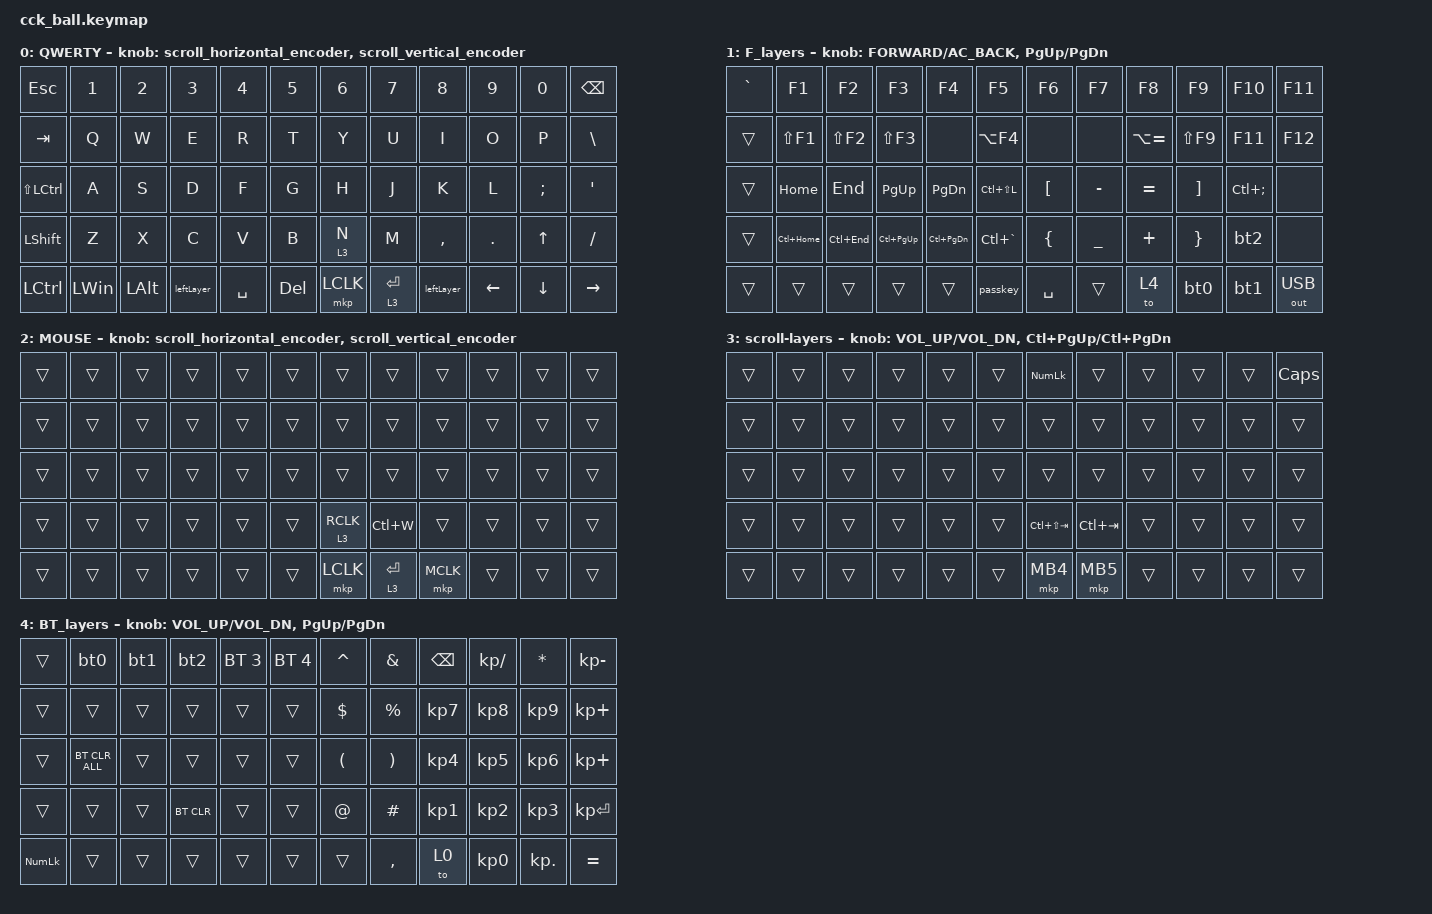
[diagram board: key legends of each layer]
#define ZMK_POINTING_DEFAULT_MOVE_VAL 1000 // 600
#define ZMK_POINTING_DEFAULT_SCRL_VAL 12   // 10

#include <input/processors.dtsi>
#include <zephyr/dt-bindings/input/input-event-codes.h>
#include <behaviors.dtsi>
#include <dt-bindings/zmk/bt.h>
#include <dt-bindings/zmk/keys.h>
#include <dt-bindings/zmk/outputs.h>
#include <dt-bindings/zmk/pointing.h>

&mmv_input_listener { input-processors = <&zip_xy_scaler 2 1>; };

&msc_input_listener { input-processors = <&zip_scroll_scaler 2 1>; };

&msc {
    acceleration-exponent = <0>;      // 0
    time-to-max-speed-ms = <300>;       // 300
    delay-ms = <0>;                   // 0
};

&mmv {
    time-to-max-speed-ms = <500>;
    acceleration-exponent = <1>;
    trigger-period-ms = <16>;
};

&soft_off { hold-time-ms = <2000>; };

/ {
    // 上下滚动编码器行为

    scroll_vertical_encoder: scroll_vertical_encoder {
        compatible = "zmk,behavior-sensor-rotate";
        #sensor-binding-cells = <0>;
        bindings = <&msc SCRL_UP>, <&msc SCRL_DOWN >;

        tap-ms = <100>;
    };

    // 左右滚动编码器行为

    scroll_horizontal_encoder: scroll_horizontal_encoder {
        compatible = "zmk,behavior-sensor-rotate";
        #sensor-binding-cells = <0>;
        bindings = <&msc SCRL_LEFT>, <&msc SCRL_RIGHT>;

        tap-ms = <100>;
    };

    leftLayer: leftLayer {
        compatible = "zmk,behavior-tap-dance";
        label = "LEFTLAYER";
        #binding-cells = <0>;
        bindings = <&mo 1>, <&mo 4>, <&togleComputer>;

        tapping-term-ms = <400>;
    };

    lt_mkp: lt_mkp {
        compatible = "zmk,behavior-hold-tap";
        label = "LT_MKP";
        bindings = <&mo>, <&mkp>;

        #binding-cells = <2>;
        tapping-term-ms = <200>;
        quick-tap-ms = <0>;
        flavor = "tap-preferred";
    };

    behaviors {
    };

    macros {
        togleComputer: togleComputer {
            compatible = "zmk,behavior-macro";
            #binding-cells = <0>;
            bindings =
                <&kp LS(LA(LC(BACKSLASH)))>,
                <&macro_wait_time 300>,
                <&out OUT_TOG>;

            label = "TOGLECOMPUTER";
        };

        passkey: passkey {
            compatible = "zmk,behavior-macro";
            #binding-cells = <0>;
            bindings =
                <&kp G &kp Z &kp S &kp D &kp C &kp X &kp DOT &kp N1 &kp N2 &kp N1>,
                <&macro_wait_time 200>,
                <&kp ENTER>;

            label = "PASSKEY";
        };

        bt0: bt0 {
            compatible = "zmk,behavior-macro";
            #binding-cells = <0>;
            bindings = <&kp LS(LA(LC(BACKSLASH))) &out OUT_BLE &bt BT_SEL 0>;
            label = "BT0";
        };

        bt1: bt1 {
            compatible = "zmk,behavior-macro";
            #binding-cells = <0>;
            bindings = <&kp LS(LA(LC(BACKSLASH))) &out OUT_BLE &bt BT_SEL 1>;
            label = "BT1";
        };

        bt2: bt2 {
            compatible = "zmk,behavior-macro";
            #binding-cells = <0>;
            bindings = <&kp LS(LA(LC(BACKSLASH))) &out OUT_BLE &bt BT_SEL 2>;
            label = "BT2";
        };
    };

    keymap {
        compatible = "zmk,keymap";

        QWERTY {
            bindings = <
&kp ESC           &kp N1        &kp N2        &kp N3      &kp N4     &kp N5      &kp N6     &kp N7       &kp N8      &kp N9          &kp N0          &kp BACKSPACE
&kp TAB           &kp Q         &kp W         &kp E       &kp R      &kp T       &kp Y      &kp U        &kp I       &kp O           &kp P           &kp BSLH
&kp LS(LCTRL)     &kp A         &kp S         &kp D       &kp F      &kp G       &kp H      &kp J        &kp K       &kp L           &kp SEMI        &kp SQT
&kp LEFT_SHIFT    &kp Z         &kp X         &kp C       &kp V      &kp B       &lt 3 N    &kp M        &kp COMMA   &kp DOT         &kp UP_ARROW    &kp FSLH
&kp LEFT_CONTROL  &kp LEFT_WIN  &kp LEFT_ALT  &leftLayer  &kp SPACE  &kp DELETE  &mkp LCLK  &lt 3 ENTER  &leftLayer  &kp LEFT_ARROW  &kp DOWN_ARROW  &kp RIGHT_ARROW
            >;

            sensor-bindings =
                <&scroll_horizontal_encoder>,
                <&scroll_vertical_encoder>;
        };

        F_layers {
            bindings = <
&kp GRAVE  &kp F1        &kp F2       &kp F3           &kp F4             &kp F5         &kp F6            &kp F7          &kp F8         &kp F9             &kp F10            &kp F11
&trans     &kp LS(F1)    &kp LS(F2)   &kp LS(F3)       &none              &kp LA(F4)     &none             &none           &kp LA(EQUAL)  &kp LS(F9)         &kp F11            &kp F12
&trans     &kp HOME      &kp END      &kp PAGE_UP      &kp PAGE_DOWN      &kp LC(LS(L))  &kp LEFT_BRACKET  &kp MINUS       &kp EQUAL      &kp RIGHT_BRACKET  &kp LC(SEMICOLON)  &none
&trans     &kp LC(HOME)  &kp LC(END)  &kp LC(PAGE_UP)  &kp LC(PAGE_DOWN)  &kp LC(GRAVE)  &kp LEFT_BRACE    &kp UNDERSCORE  &kp PLUS       &kp RIGHT_BRACE    &bt2               &none
&trans     &trans        &trans       &trans           &trans             &passkey       &kp SPACE         &trans          &to 4          &bt0               &bt1               &out OUT_USB
            >;

            sensor-bindings =
                <&inc_dec_kp K_FORWARD C_AC_BACK>,
                <&inc_dec_kp PG_UP PG_DN>;
        };

        MOUSE {
            bindings = <
&trans  &trans  &trans  &trans  &trans  &trans  &trans          &trans       &trans     &trans  &trans  &trans
&trans  &trans  &trans  &trans  &trans  &trans  &trans          &trans       &trans     &trans  &trans  &trans
&trans  &trans  &trans  &trans  &trans  &trans  &trans          &trans       &trans     &trans  &trans  &trans
&trans  &trans  &trans  &trans  &trans  &trans  &lt_mkp 3 RCLK  &kp LC(W)    &trans     &trans  &trans  &trans
&trans  &trans  &trans  &trans  &trans  &trans  &mkp LCLK       &lt 3 ENTER  &mkp MCLK  &trans  &trans  &trans
            >;

            sensor-bindings =
                <&scroll_horizontal_encoder>,
                <&scroll_vertical_encoder>;
        };

        scroll-layers {
            bindings = <
&trans  &trans  &trans  &trans  &trans  &trans  &kp KP_NUMLOCK   &trans       &trans  &trans  &trans  &kp CAPSLOCK
&trans  &trans  &trans  &trans  &trans  &trans  &trans           &trans       &trans  &trans  &trans  &trans
&trans  &trans  &trans  &trans  &trans  &trans  &trans           &trans       &trans  &trans  &trans  &trans
&trans  &trans  &trans  &trans  &trans  &trans  &kp LC(LS(TAB))  &kp LC(TAB)  &trans  &trans  &trans  &trans
&trans  &trans  &trans  &trans  &trans  &trans  &mkp MB4         &mkp MB5     &trans  &trans  &trans  &trans
            >;

            sensor-bindings =
                <&inc_dec_kp C_VOL_UP C_VOL_DN>,
                <&inc_dec_kp LC(PG_UP) LC(PG_DN)>;
        };

        BT_layers {
            bindings = <
&trans          &bt0            &bt1    &bt2        &bt BT_SEL 3  &bt BT_SEL 4  &kp CARET             &kp AMPERSAND          &kp BACKSPACE    &kp KP_DIVIDE    &kp STAR         &kp KP_MINUS
&trans          &trans          &trans  &trans      &trans        &trans        &kp DOLLAR            &kp PERCENT            &kp KP_NUMBER_7  &kp KP_NUMBER_8  &kp KP_NUMBER_9  &kp KP_PLUS
&trans          &bt BT_CLR_ALL  &trans  &trans      &trans        &trans        &kp LEFT_PARENTHESIS  &kp RIGHT_PARENTHESIS  &kp KP_NUMBER_4  &kp KP_NUMBER_5  &kp KP_NUMBER_6  &kp KP_PLUS
&trans          &trans          &trans  &bt BT_CLR  &trans        &trans        &kp AT_SIGN           &kp HASH               &kp KP_NUMBER_1  &kp KP_NUMBER_2  &kp KP_NUMBER_3  &kp KP_ENTER
&kp KP_NUMLOCK  &trans          &trans  &trans      &trans        &trans        &trans                &kp COMMA              &to 0            &kp KP_NUMBER_0  &kp KP_DOT       &kp EQUAL
            >;

            sensor-bindings = <&inc_dec_kp C_VOL_UP C_VOL_DN &inc_dec_kp PG_UP PG_DN>;
        };
    };
};
